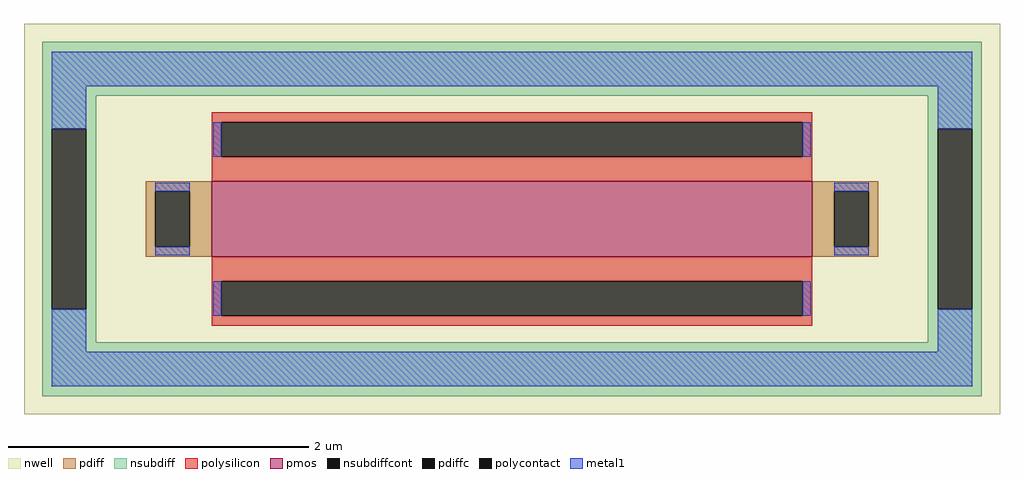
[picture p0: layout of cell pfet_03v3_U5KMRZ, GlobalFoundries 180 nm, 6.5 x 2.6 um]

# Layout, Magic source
magic
tech gf180mcuD
magscale 1 10
<< nwell >>
rect -650 -260 650 260
<< pmos >>
rect -400 -50 400 50
<< pdiff >>
rect -488 37 -400 50
rect -488 -37 -475 37
rect -429 -37 -400 37
rect -488 -50 -400 -37
rect 400 37 488 50
rect 400 -37 429 37
rect 475 -37 488 37
rect 400 -50 488 -37
<< pdiffc >>
rect -475 -37 -429 37
rect 429 -37 475 37
<< nsubdiff >>
rect -626 164 626 236
rect -626 120 -554 164
rect -626 -120 -613 120
rect -567 -120 -554 120
rect 554 120 626 164
rect -626 -164 -554 -120
rect 554 -120 567 120
rect 613 -120 626 120
rect 554 -164 626 -120
rect -626 -236 626 -164
<< nsubdiffcont >>
rect -613 -120 -567 120
rect 567 -120 613 120
<< polysilicon >>
rect -400 129 400 142
rect -400 83 -387 129
rect 387 83 400 129
rect -400 50 400 83
rect -400 -83 400 -50
rect -400 -129 -387 -83
rect 387 -129 400 -83
rect -400 -142 400 -129
<< polycontact >>
rect -387 83 387 129
rect -387 -129 387 -83
<< metal1 >>
rect -613 177 613 223
rect -613 120 -567 177
rect -398 83 -387 129
rect 387 83 398 129
rect 567 120 613 177
rect -475 37 -429 48
rect -475 -48 -429 -37
rect 429 37 475 48
rect 429 -48 475 -37
rect -613 -177 -567 -120
rect -398 -129 -387 -83
rect 387 -129 398 -83
rect 567 -177 613 -120
rect -613 -223 613 -177
<< properties >>
string FIXED_BBOX -590 -200 590 200
string gencell pfet_03v3
string library gf180mcu
string parameters w 0.5 l 4 m 1 nf 1 diffcov 100 polycov 100 guard 1 glc 1 grc 1 gtc 0 gbc 0 tbcov 100 rlcov 100 topc 1 botc 1 poverlap 0 doverlap 1 lmin 0.28 wmin 0.22 class mosfet full_metal 1 compatible {pfet_03v3 pfet_05v0 pfet_06v0}
<< end >>
